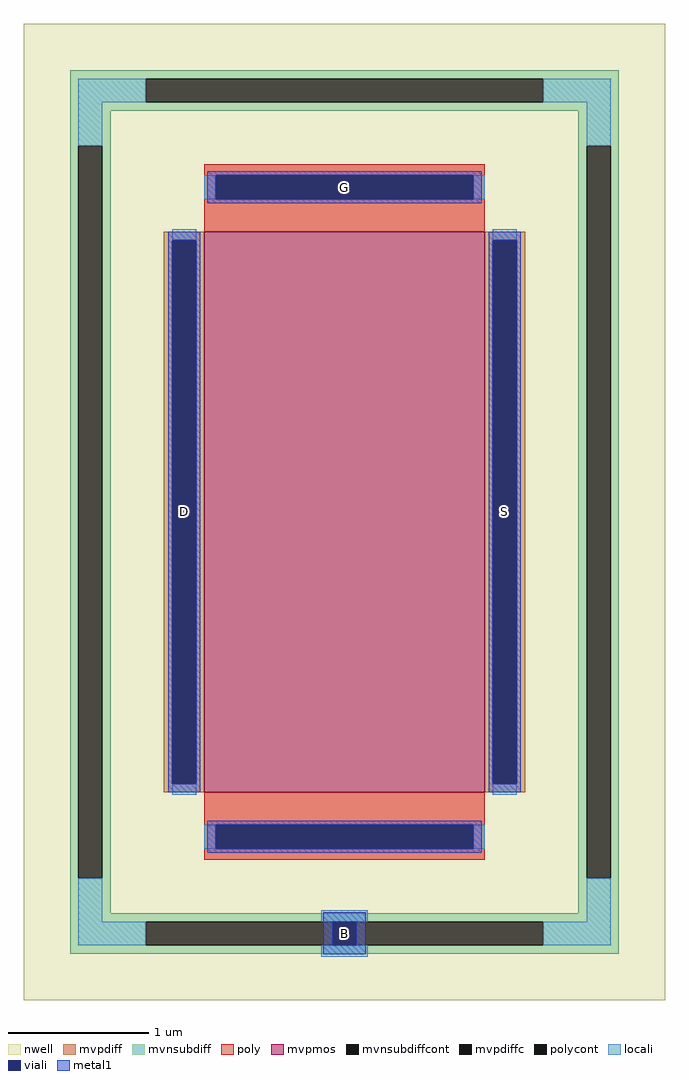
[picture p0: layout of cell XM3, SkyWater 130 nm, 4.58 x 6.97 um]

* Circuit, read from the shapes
.subckt XM3 B D S G
XM1 S G D B sky130_fd_pr__pfet_g5v0d10v5 w=4 l=2
.ends

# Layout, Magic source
magic
tech sky130A
magscale 1 2
<< nwell >>
rect -458 -697 458 697
<< mvpmos >>
rect -200 -400 200 400
<< mvpdiff >>
rect -258 388 -200 400
rect -258 -388 -246 388
rect -212 -388 -200 388
rect -258 -400 -200 -388
rect 200 388 258 400
rect 200 -388 212 388
rect 246 -388 258 388
rect 200 -400 258 -388
<< mvpdiffc >>
rect -246 -388 -212 388
rect 212 -388 246 388
<< mvnsubdiff >>
rect -392 619 392 631
rect -392 585 -284 619
rect 284 585 392 619
rect -392 573 392 585
rect -392 523 -334 573
rect -392 -523 -380 523
rect -346 -523 -334 523
rect 334 523 392 573
rect -392 -573 -334 -523
rect 334 -523 346 523
rect 380 -523 392 523
rect 334 -573 392 -523
rect -392 -585 392 -573
rect -392 -619 -284 -585
rect 284 -619 392 -585
rect -392 -631 392 -619
<< mvnsubdiffcont >>
rect -284 585 284 619
rect -380 -523 -346 523
rect 346 -523 380 523
rect -284 -619 284 -585
<< poly >>
rect -200 481 200 497
rect -200 447 -184 481
rect 184 447 200 481
rect -200 400 200 447
rect -200 -447 200 -400
rect -200 -481 -184 -447
rect 184 -481 200 -447
rect -200 -497 200 -481
<< polycont >>
rect -184 447 184 481
rect -184 -481 184 -447
<< locali >>
rect -380 585 -284 619
rect 284 585 380 619
rect -380 523 -346 585
rect 346 523 380 585
rect -200 447 -184 481
rect 184 447 200 481
rect -246 388 -212 404
rect -246 -404 -212 -388
rect 212 388 246 404
rect 212 -404 246 -388
rect -200 -481 -184 -447
rect 184 -481 200 -447
rect -380 -585 -346 -523
rect -33 -585 33 -569
rect 346 -585 380 -523
rect -380 -619 -284 -585
rect 284 -619 380 -585
rect -33 -635 33 -619
<< viali >>
rect -184 447 184 481
rect -246 -388 -212 388
rect 212 -388 246 388
rect -184 -481 184 -447
rect -17 -619 17 -585
<< metal1 >>
rect -196 481 196 487
rect -196 447 -184 481
rect 184 447 196 481
rect -196 441 196 447
rect -252 388 -206 400
rect -252 -388 -246 388
rect -212 -388 -206 388
rect -252 -400 -206 -388
rect 206 388 252 400
rect 206 -388 212 388
rect 246 -388 252 388
rect 206 -400 252 -388
rect -196 -447 196 -441
rect -196 -481 -184 -447
rect 184 -481 196 -447
rect -196 -487 196 -481
rect -30 -585 30 -572
rect -30 -619 -17 -585
rect 17 -619 30 -585
rect -30 -632 30 -619
<< labels >>
rlabel mvnsubdiffcont 0 -602 0 -602 0 B
port 4 nsew
rlabel mvpdiffc -229 0 -229 0 0 D
port 5 nsew
rlabel mvpdiffc 229 0 229 0 0 S
port 6 nsew
rlabel polycont 0 464 0 464 0 G
port 7 nsew
<< properties >>
string FIXED_BBOX -363 -602 363 602
<< end >>
